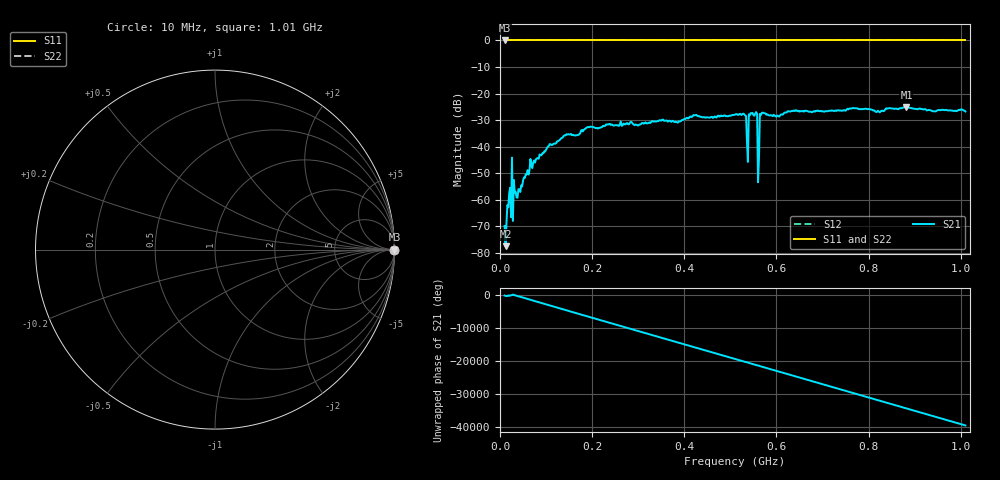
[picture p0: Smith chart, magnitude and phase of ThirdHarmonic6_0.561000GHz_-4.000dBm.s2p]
! 8/15/2025 5:53:05 PM
! C:\ANRITSUVNA\TEMP\TEMP.S2P
! CHANNEL.1
! TR.MEASUREMENT
! RAW.DATA
! RF.CORRECTION.OFF
! AVERAGING.OFF
! IF.BANDWIDTH: 5KHZ
! SWEEPTYPE:  FREQ.SWEEP(Linear)
! Reference Plane Port Info
! PORT:  PORT1  PORT2
! DISTANCE:  0  m  0  m
! TIME:  0  s  0  s
! PHASE.OFFSET:  0  deg.  0  deg.
! LOSS:  0  dB  0  dB
! REF.LOSS:  0  dB  0  dB
! REF.FREQ:  0  Hz  0  Hz
! Power Info
! POWER:  -20  dBm  -20  dBm
! EFF.POWER:  -20  dBm  -20  dBm
! SOURCE.ATTEN:  0  dB  0  dB
! TEST.ATTEN:  0  dB  0  dB
# GHZ S RI R 50.0
! FREQ.GHZ  S11RE  S11IM  S21RE  S21IM  S12RE  S12IM  S22RE  S22IM
!; PortSelection: Port_12
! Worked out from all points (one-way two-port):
!   501 points, 10 MHz to 1.01 GHz, reference 50 ohm
!   highest |S21| = -25.07 dB at 882 MHz (marker M1); lowest = -77.5 dB at 12 MHz (marker M2)
!   lowest |S11| = 0.0 dB at 10 MHz (marker M3)
!   |S11| at or under -10 dB: nowhere
!   |S22| runs from 0.0 to 0.0 dB; largest |S21 - S12| = 1.1
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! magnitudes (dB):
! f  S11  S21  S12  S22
! 10 MHz  0.0  -69.9  0.0  0.0
! 12 MHz  0.0  -77.5  0.0  0.0
! 22 MHz  0.0  -55.5  0.0  0.0
! 40 MHz  0.0  -56.0  0.0  0.0
! 70 MHz  0.0  -48.1  0.0  0.0
! 106 MHz  0.0  -39.7  0.0  0.0
! 178 MHz  0.0  -33.7  0.0  0.0
! 344 MHz  0.0  -30.3  0.0  0.0
! 510 MHz  0.0  -28.0  0.0  0.0
! 530 MHz  0.0  -27.8  0.0  0.0
! 534 MHz  0.0  -28.5  0.0  0.0
! 538 MHz  0.0  -45.7  0.0  0.0
! 544 MHz  0.0  -27.4  0.0  0.0
! 554 MHz  0.0  -27.5  0.0  0.0
! 558 MHz  0.0  -27.7  0.0  0.0
! 562 MHz  0.0  -44.6  0.0  0.0
! 564 MHz  0.0  -27.6  0.0  0.0
! 568 MHz  0.0  -27.3  0.0  0.0
! 678 MHz  0.0  -27.0  0.0  0.0
! 844 MHz  0.0  -25.5  0.0  0.0
! 882 MHz  0.0  -25.1  0.0  0.0
! 1.01 GHz  0.0  -26.7  0.0  0.0
